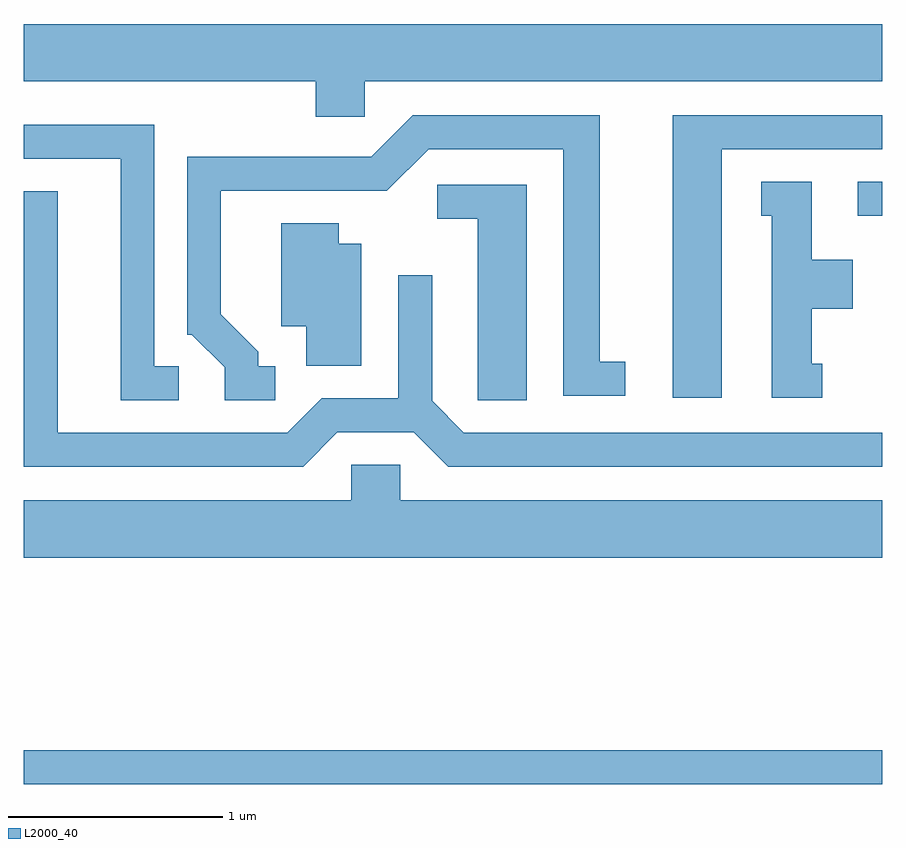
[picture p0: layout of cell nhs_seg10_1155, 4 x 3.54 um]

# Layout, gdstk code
import gdstk
lib = gdstk.Library(unit=1e-6, precision=1e-09)
def R(c, l, rs):  # rectangles x0, y0, x1, y1
    for r in rs: c.add(gdstk.rectangle(r[:2], r[2:], *l))
def P(c, l, *ps):  # polygons
    for p in ps: c.add(gdstk.Polygon(p, *l))
L2000_40 = (2000, 40)

nhs_seg10_1155 = lib.new_cell('nhs_seg10_1155')
R(nhs_seg10_1155, L2000_40, [(219.611,2092.881,223.611,2093.039), (223.498,2095.531,223.611,2095.689)])
P(nhs_seg10_1155, L2000_40, [(221.199,2096.156),(223.611,2096.156),(223.611,2096.424),(219.611,2096.424),(219.611,2096.156),(220.971,2096.156),(220.971,2095.991),(221.199,2095.991)],
  [(220.783,2094.829),(220.704,2094.829),(220.704,2094.896),(220.529,2095.072),(220.529,2095.646),(221.302,2095.646),(221.497,2095.841),(222.126,2095.841),(222.126,2094.691),(222.413,2094.691),(222.413,2094.849),(222.294,2094.849),(222.294,2095.999),(221.424,2095.999),(221.229,2095.804),(220.371,2095.804),(220.371,2094.976),(220.394,2094.976),(220.546,2094.824),(220.546,2094.671),(220.783,2094.671)],
  [(222.864,2095.841),(223.611,2095.841),(223.611,2095.999),(222.636,2095.999),(222.636,2094.681),(222.864,2094.681)],
  [(220.333,2094.829),(220.219,2094.829),(220.219,2095.954),(219.611,2095.954),(219.611,2095.796),(220.061,2095.796),(220.061,2094.671),(220.333,2094.671)],
  [(223.333,2094.839),(223.284,2094.839),(223.284,2095.096),(223.474,2095.096),(223.474,2095.324),(223.284,2095.324),(223.284,2095.689),(223.048,2095.689),(223.048,2095.531),(223.096,2095.531),(223.096,2094.681),(223.333,2094.681)],
  [(221.954,2095.674),(221.538,2095.674),(221.538,2095.516),(221.726,2095.516),(221.726,2094.671),(221.954,2094.671)],
  [(221.072,2094.521),(221.429,2094.521),(221.589,2094.361),(223.611,2094.361),(223.611,2094.519),(221.662,2094.519),(221.514,2094.667),(221.514,2095.253),(221.356,2095.253),(221.356,2094.679),(220.999,2094.679),(220.839,2094.519),(219.769,2094.519),(219.769,2095.644),(219.611,2095.644),(219.611,2094.361),(220.912,2094.361)],
  [(221.184,2095.399),(221.079,2095.399),(221.079,2095.494),(220.811,2095.494),(220.811,2095.016),(220.926,2095.016),(220.926,2094.831),(221.184,2094.831)],
  [(223.611,2094.204),(221.364,2094.204),(221.364,2094.369),(221.136,2094.369),(221.136,2094.204),(219.611,2094.204),(219.611,2093.936),(223.611,2093.936)])

lib.write_gds('nhs_seg10_1155.gds')
